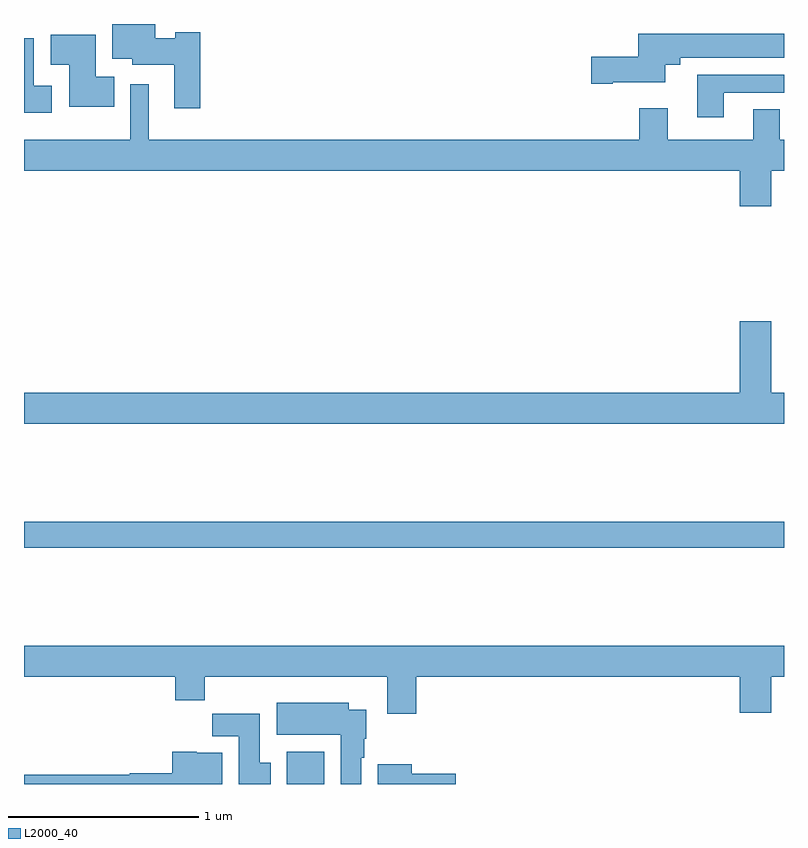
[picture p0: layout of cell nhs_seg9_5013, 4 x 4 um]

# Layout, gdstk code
import gdstk
lib = gdstk.Library(unit=1e-6, precision=1e-09)
def R(c, l, rs):  # rectangles x0, y0, x1, y1
    for r in rs: c.add(gdstk.rectangle(r[:2], r[2:], *l))
def P(c, l, *ps):  # polygons
    for p in ps: c.add(gdstk.Polygon(p, *l))
L2000_40 = (2000, 40)

nhs_seg9_5013 = lib.new_cell('nhs_seg9_5013')
R(nhs_seg9_5013, L2000_40, [(402.383,1218.5,402.58,1218.67), (401,1219.744,405,1219.88)])
P(nhs_seg9_5013, L2000_40, [(401.927,1222.457),(401.796,1222.457),(401.796,1222.426),(401.692,1222.426),(401.692,1222.5),(401.465,1222.5),(401.465,1222.316),(401.57,1222.316),(401.57,1222.286),(401.792,1222.286),(401.792,1222.056),(401.927,1222.056)],
  [(404.098,1222.193),(404.374,1222.193),(404.374,1222.286),(404.455,1222.286),(404.455,1222.322),(405,1222.322),(405,1222.45),(404.234,1222.45),(404.234,1222.328),(403.986,1222.328),(403.986,1222.186),(404.098,1222.186)],
  [(401.474,1222.222),(401.377,1222.222),(401.377,1222.444),(401.141,1222.444),(401.141,1222.286),(401.237,1222.286),(401.237,1222.064),(401.474,1222.064)],
  [(401.146,1222.174),(401.052,1222.174),(401.052,1222.426),(401,1222.426),(401,1222.034),(401.146,1222.034)],
  [(404.683,1222.137),(405,1222.137),(405,1222.233),(404.543,1222.233),(404.543,1222.008),(404.683,1222.008)],
  [(404.932,1221.728),(405,1221.728),(405,1221.892),(404.977,1221.892),(404.977,1222.052),(404.837,1222.052),(404.837,1221.892),(404.389,1221.892),(404.389,1222.057),(404.237,1222.057),(404.237,1221.892),(401.656,1221.892),(401.656,1222.183),(401.559,1222.183),(401.559,1221.892),(401,1221.892),(401,1221.728),(404.768,1221.728),(404.768,1221.54),(404.932,1221.54)],
  [(405,1220.56),(404.932,1220.56),(404.932,1220.935),(404.768,1220.935),(404.768,1220.56),(401,1220.56),(401,1220.396),(405,1220.396)],
  [(401,1219.064),(401.795,1219.064),(401.795,1218.94),(401.951,1218.94),(401.951,1219.064),(402.911,1219.064),(402.911,1218.87),(403.064,1218.87),(403.064,1219.064),(404.768,1219.064),(404.768,1218.876),(404.932,1218.876),(404.932,1219.064),(405,1219.064),(405,1219.228),(401,1219.228)],
  [(402.775,1218.638),(402.79,1218.638),(402.79,1218.738),(402.802,1218.738),(402.802,1218.892),(402.709,1218.892),(402.709,1218.928),(402.329,1218.928),(402.329,1218.758),(402.668,1218.758),(402.668,1218.5),(402.775,1218.5)],
  [(402.298,1218.612),(402.241,1218.612),(402.241,1218.87),(401.992,1218.87),(401.992,1218.752),(402.131,1218.752),(402.131,1218.5),(402.298,1218.5)],
  [(402.043,1218.664),(401.91,1218.664),(401.91,1218.67),(401.78,1218.67),(401.78,1218.556),(401.556,1218.556),(401.556,1218.548),(401,1218.548),(401,1218.5),(402.043,1218.5)],
  [(403.273,1218.554),(403.042,1218.554),(403.042,1218.604),(402.863,1218.604),(402.863,1218.5),(403.273,1218.5)])

lib.write_gds('nhs_seg9_5013.gds')
